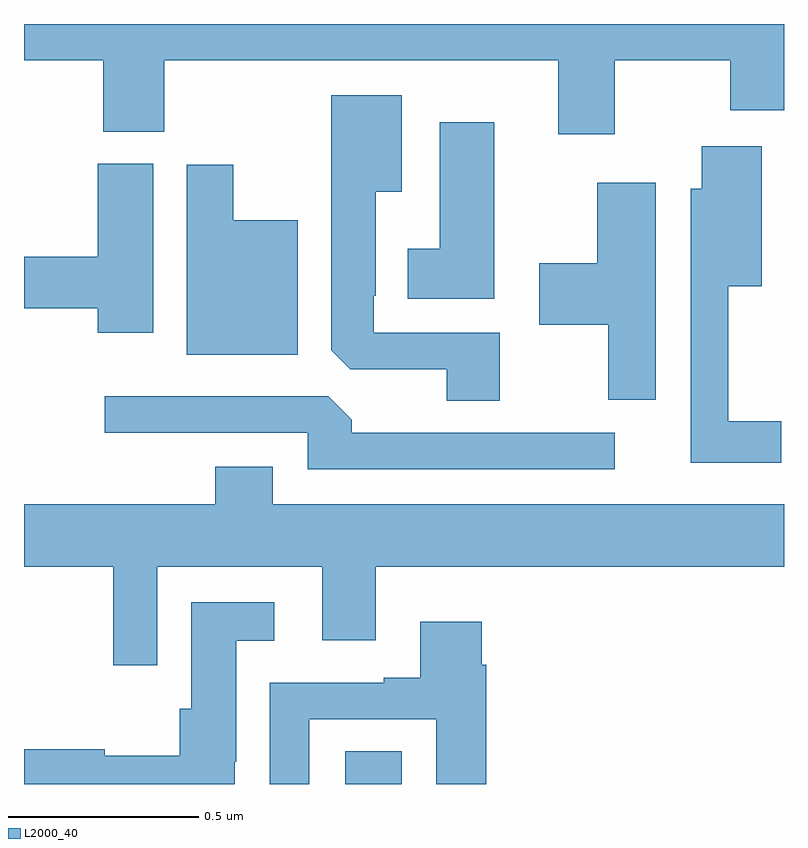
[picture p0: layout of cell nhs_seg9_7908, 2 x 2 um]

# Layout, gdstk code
import gdstk
lib = gdstk.Library(unit=1e-6, precision=1e-09)
def R(c, l, rs):  # rectangles x0, y0, x1, y1
    for r in rs: c.add(gdstk.rectangle(r[:2], r[2:], *l))
def P(c, l, *ps):  # polygons
    for p in ps: c.add(gdstk.Polygon(p, *l))
L2000_40 = (2000, 40)

nhs_seg9_7908 = lib.new_cell('nhs_seg9_7908')
R(nhs_seg9_7908, L2000_40, [(210.845,1210.5,210.994,1210.586)])
P(nhs_seg9_7908, L2000_40, [(211.554,1212.404),(211.858,1212.404),(211.858,1212.273),(212,1212.273),(212,1212.5),(210,1212.5),(210,1212.404),(210.209,1212.404),(210.209,1212.217),(210.369,1212.217),(210.369,1212.404),(211.406,1212.404),(211.406,1212.21),(211.554,1212.21)],
  [(211.252,1211.688),(210.921,1211.688),(210.921,1211.785),(210.925,1211.785),(210.925,1212.059),(210.994,1212.059),(210.994,1212.313),(210.809,1212.313),(210.809,1211.641),(210.858,1211.592),(211.112,1211.592),(211.112,1211.509),(211.252,1211.509)],
  [(211.237,1212.241),(211.094,1212.241),(211.094,1211.908),(211.01,1211.908),(211.01,1211.777),(211.237,1211.777)],
  [(211.993,1211.455),(211.853,1211.455),(211.853,1211.81),(211.942,1211.81),(211.942,1212.178),(211.784,1212.178),(211.784,1212.067),(211.755,1212.067),(211.755,1211.346),(211.993,1211.346)],
  [(210.34,1212.132),(210.194,1212.132),(210.194,1211.888),(210,1211.888),(210,1211.752),(210.194,1211.752),(210.194,1211.688),(210.34,1211.688)],
  [(210.721,1211.983),(210.55,1211.983),(210.55,1212.13),(210.428,1212.13),(210.428,1211.63),(210.721,1211.63)],
  [(211.663,1212.082),(211.508,1212.082),(211.508,1211.871),(211.356,1211.871),(211.356,1211.708),(211.538,1211.708),(211.538,1211.511),(211.663,1211.511)],
  [(211.555,1211.424),(210.863,1211.424),(210.863,1211.458),(210.801,1211.52),(210.213,1211.52),(210.213,1211.424),(210.747,1211.424),(210.747,1211.328),(211.555,1211.328)],
  [(210.351,1211.072),(210.785,1211.072),(210.785,1210.878),(210.925,1210.878),(210.925,1211.072),(212,1211.072),(212,1211.236),(210.655,1211.236),(210.655,1211.335),(210.503,1211.335),(210.503,1211.236),(210,1211.236),(210,1211.072),(210.235,1211.072),(210.235,1210.812),(210.351,1210.812)],
  [(210.555,1210.558),(210.559,1210.558),(210.559,1210.877),(210.658,1210.877),(210.658,1210.978),(210.44,1210.978),(210.44,1210.698),(210.41,1210.698),(210.41,1210.575),(210.213,1210.575),(210.213,1210.592),(210,1210.592),(210,1210.5),(210.555,1210.5)],
  [(210.751,1210.671),(211.085,1210.671),(211.085,1210.5),(211.217,1210.5),(211.217,1210.814),(211.204,1210.814),(211.204,1210.927),(211.043,1210.927),(211.043,1210.78),(210.947,1210.78),(210.947,1210.767),(210.647,1210.767),(210.647,1210.5),(210.751,1210.5)])

lib.write_gds('nhs_seg9_7908.gds')
